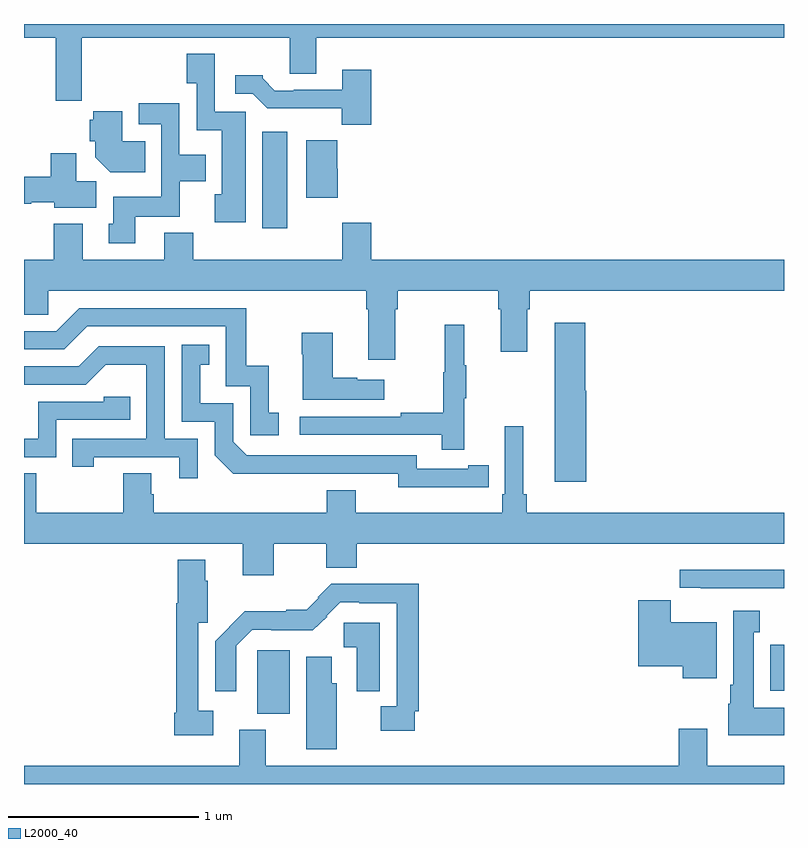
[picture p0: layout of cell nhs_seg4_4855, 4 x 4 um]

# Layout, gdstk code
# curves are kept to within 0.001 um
import gdstk
lib = gdstk.Library(unit=1e-6, precision=1e-09)
def R(c, l, rs):  # rectangles x0, y0, x1, y1
    for r in rs: c.add(gdstk.rectangle(r[:2], r[2:], *l))
def P(c, l, *ps):  # polygons
    for p in ps: c.add(gdstk.Polygon(p, *l))
L2000_40 = (2000, 40)

nhs_seg4_4855 = lib.new_cell('nhs_seg4_4855')
R(nhs_seg4_4855, L2000_40, [(374.228,785.27,374.398,785.604), (376.928,785.39,377,785.632), (374.255,787.824,374.386,788.332)])
P(nhs_seg4_4855, L2000_40, [(373.304,788.828),(374.399,788.828),(374.399,788.638),(374.539,788.638),(374.539,788.828),(377,788.828),(377,788.9),(373,788.9),(373,788.828),(373.168,788.828),(373.168,788.496),(373.304,788.496)],
  [(374.167,788.439),(374.004,788.439),(374.004,788.743),(373.856,788.743),(373.856,788.587),(373.908,788.587),(373.908,788.342),(374.042,788.342),(374.042,788.003),(374.003,788.003),(374.003,787.856),(374.167,787.856)],
  [(374.828,788.659),(374.675,788.659),(374.675,788.553),(374.419,788.553),(374.419,788.55),(374.32,788.55),(374.256,788.614),(374.256,788.629),(374.112,788.629),(374.112,788.532),(374.205,788.532),(374.281,788.456),(374.673,788.456),(374.673,788.369),(374.828,788.369)],
  [(373.585,787.886),(373.82,787.886),(373.82,788.073),(373.957,788.073),(373.957,788.212),(373.818,788.212),(373.818,788.482),(373.605,788.482),(373.605,788.373),(373.722,788.373),(373.722,787.99),(373.469,787.99),(373.469,787.848),(373.445,787.848),(373.445,787.746),(373.585,787.746)],
  [(373.637,788.284),(373.516,788.284),(373.516,788.441),(373.364,788.441),(373.364,788.397),(373.346,788.397),(373.346,788.283),(373.376,788.283),(373.376,788.198),(373.454,788.12),(373.637,788.12)],
  [(374.65,788.139),(374.648,788.139),(374.648,788.287),(374.486,788.287),(374.486,787.986),(374.65,787.986)],
  [(373.381,788.072),(373.276,788.072),(373.276,788.221),(373.142,788.221),(373.142,788.096),(373,788.096),(373,787.954),(373.038,787.954),(373.038,787.961),(373.158,787.961),(373.158,787.934),(373.381,787.934)],
  [(374.953,787.4),(374.966,787.4),(374.966,787.496),(375.497,787.496),(375.497,787.4),(375.509,787.4),(375.509,787.176),(375.649,787.176),(375.649,787.4),(375.662,787.4),(375.662,787.496),(377,787.496),(377,787.66),(374.828,787.66),(374.828,787.855),(374.675,787.855),(374.675,787.66),(373.892,787.66),(373.892,787.801),(373.739,787.801),(373.739,787.66),(373.309,787.66),(373.309,787.849),(373.157,787.849),(373.157,787.66),(373,787.66),(373,787.369),(373.128,787.369),(373.128,787.496),(374.801,787.496),(374.801,787.4),(374.813,787.4),(374.813,787.134),(374.953,787.134)],
  [(374.341,786.855),(374.288,786.855),(374.288,787.102),(374.17,787.102),(374.17,787.404),(373.29,787.404),(373.17,787.284),(373,787.284),(373,787.188),(373.212,787.188),(373.332,787.308),(374.061,787.308),(374.061,786.993),(374.19,786.993),(374.19,786.735),(374.341,786.735)],
  [(375.958,786.969),(375.953,786.969),(375.953,787.327),(375.794,787.327),(375.794,786.492),(375.958,786.492)],
  [(375.317,786.931),(375.328,786.931),(375.328,787.105),(375.317,787.105),(375.317,787.318),(375.214,787.318),(375.214,787.068),(375.207,787.068),(375.207,786.854),(374.983,786.854),(374.983,786.834),(374.451,786.834),(374.451,786.738),(375.199,786.738),(375.199,786.66),(375.317,786.66)],
  [(374.896,787.027),(374.753,787.027),(374.753,787.037),(374.626,787.037),(374.626,787.276),(374.461,787.276),(374.461,787.163),(374.468,787.163),(374.468,786.923),(374.896,786.923)],
  [(375.338,786.462),(375.446,786.462),(375.446,786.578),(375.338,786.578),(375.338,786.558),(375.066,786.558),(375.066,786.63),(374.172,786.63),(374.1,786.702),(374.1,786.903),(373.927,786.903),(373.927,787.107),(373.976,787.107),(373.976,787.213),(373.83,787.213),(373.83,786.807),(374.004,786.807),(374.004,786.63),(374.102,786.533),(374.97,786.534),(374.97,786.461)],
  [(373.914,786.717),(373.74,786.717),(373.74,787.203),(373.394,787.203),(373.289,787.098),(373,787.098),(373,787.002),(373.326,787.002),(373.43,787.106),(373.644,787.106),(373.644,786.717),(373.255,786.717),(373.255,786.57),(373.366,786.57),(373.366,786.621),(373.817,786.621),(373.817,786.51),(373.914,786.51)],
  [(373.17,786.816),(373.559,786.816),(373.559,786.939),(373.419,786.939),(373.419,786.912),(373.074,786.912),(373.074,786.717),(373,786.717),(373,786.621),(373.17,786.621)],
  [(374.314,786.164),(374.591,786.164),(374.591,786.038),(374.752,786.038),(374.752,786.164),(377,786.164),(377,786.328),(375.647,786.328),(375.647,786.424),(375.628,786.424),(375.628,786.784),(375.531,786.784),(375.531,786.424),(375.518,786.424),(375.518,786.328),(374.746,786.328),(374.746,786.445),(374.594,786.445),(374.594,786.328),(373.682,786.328),(373.682,786.426),(373.669,786.426),(373.669,786.536),(373.522,786.536),(373.522,786.328),(373.065,786.328),(373.065,786.536),(373,786.536),(373,786.164),(374.15,786.164),(374.15,786),(374.314,786)],
  [(373.996,785.286),(373.917,785.286),(373.917,785.748),(373.967,785.748),(373.967,785.969),(373.954,785.969),(373.954,786.079),(373.808,786.079),(373.808,785.851),(373.801,785.851),(373.801,785.274),(373.79,785.274),(373.79,785.156),(373.996,785.156)],
  [(377,786.028),(376.452,786.028),(376.452,785.933),(376.561,785.933),(376.561,785.931),(377,785.931)],
  [(375.057,785.284),(375.077,785.284),(375.077,785.953),(374.617,785.953),(374.547,785.883),(374.551,785.879),(374.489,785.817),(374.381,785.817),(374.381,785.809),(374.161,785.809),(374.006,785.652),(374.006,785.388),(374.118,785.388),(374.118,785.628),(374.202,785.712),(374.302,785.712),(374.302,785.708),(374.521,785.708),(374.595,785.781),(374.592,785.784),(374.664,785.856),(374.764,785.856),(374.764,785.852),(374.961,785.852),(374.961,785.308),(374.878,785.308),(374.878,785.18),(375.057,785.18)],
  [(376.645,785.752),(376.405,785.752),(376.405,785.868),(376.232,785.868),(376.232,785.519),(376.466,785.519),(376.466,785.456),(376.645,785.456)],
  [(377,785.302),(376.84,785.302),(376.84,785.699),(376.873,785.699),(376.873,785.812),(376.733,785.812),(376.733,785.422),(376.718,785.422),(376.718,785.322),(376.706,785.322),(376.706,785.156),(377,785.156)],
  [(374.872,785.75),(374.682,785.75),(374.682,785.621),(374.75,785.621),(374.75,785.389),(374.872,785.389)],
  [(374.647,785.43),(374.62,785.43),(374.62,785.569),(374.486,785.569),(374.486,785.082),(374.647,785.082)],
  [(377,784.996),(376.597,784.996),(376.597,785.191),(376.445,785.191),(376.445,784.996),(374.272,784.996),(374.272,785.185),(374.132,785.185),(374.132,784.996),(373,784.996),(373,784.9),(377,784.9)])

lib.write_gds('nhs_seg4_4855.gds')
